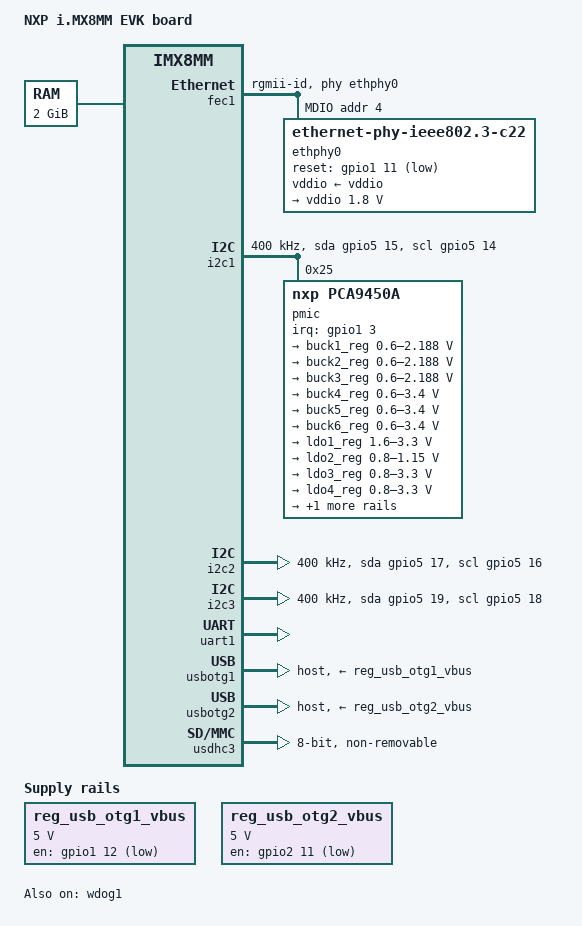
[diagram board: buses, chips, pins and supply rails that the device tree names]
// SPDX-License-Identifier: (GPL-2.0+ OR MIT)
/*
 * Copyright 2019-2020 NXP
 */

/dts-v1/;

#include <dt-bindings/usb/pd.h>
#include <dt-bindings/phy/phy-imx8-pcie.h>
#include <dt-bindings/usb/pd.h>
#include "imx8mm.dtsi"

/ {
	model = "NXP i.MX8MM EVK board";
	compatible = "fsl,imx8mm-evk", "fsl,imx8mm";

	chosen {
		stdout-path = &uart1;
		bootargs = "console=ttymxc0,115200 earlycon=ec_imx6q,0x30890000,115200";
	};
	memory@40000000 {
		device_type = "memory";
		reg = <0x0 0x40000000 0 0x80000000>;
	};

	reg_usb_otg1_vbus: regulator-usb-otg1-vbus {
		pinctrl-names = "default";
		pinctrl-0 = <&pinctrl_usbotg1_pwr>;
		compatible = "regulator-fixed";
		regulator-name = "usb_otg1_vbus";
		regulator-min-microvolt = <5000000>;
		regulator-max-microvolt = <5000000>;
		gpio = <&gpio1 12 GPIO_ACTIVE_HIGH>;
	};

	reg_usb_otg2_vbus: regulator-usb-otg2-vbus {
		pinctrl-names = "default";
		pinctrl-0 = <&pinctrl_usbotg2_pwr>;
		compatible = "regulator-fixed";
		regulator-name = "usb_otg2_vbus";
		regulator-min-microvolt = <5000000>;
		regulator-max-microvolt = <5000000>;
		gpio = <&gpio2 11 GPIO_ACTIVE_HIGH>;
	};

};

&A53_0 {
	cpu-supply = <&buck2_reg>;
};

&A53_1 {
	cpu-supply = <&buck2_reg>;
};

&A53_2 {
	cpu-supply = <&buck2_reg>;
};

&A53_3 {
	cpu-supply = <&buck2_reg>;
};


&fec1 {
	pinctrl-names = "default";
	pinctrl-0 = <&pinctrl_fec1>;
	phy-mode = "rgmii-id";
	phy-handle = <&ethphy0>;
	fsl,magic-packet;
	status = "okay";

	mdio {
		#address-cells = <1>;
		#size-cells = <0>;

		ethphy0: ethernet-phy@4 {
			compatible = "ethernet-phy-ieee802.3-c22";
			reg = <4>;
			reset-gpios = <&gpio1 11 GPIO_ACTIVE_LOW>;
			reset-assert-us = <60000>;
			reset-deassert-us = <70000>;
			qca,disable-smarteee;
			vddio-supply = <&vddio>;

			vddio: vddio-regulator {
				regulator-min-microvolt = <1800000>;
				regulator-max-microvolt = <1800000>;
			};
		};
	};
};

&i2c1 {
	clock-frequency = <400000>;
	pinctrl-names = "default", "gpio";
	pinctrl-0 = <&pinctrl_i2c1>;
	pinctrl-1 = <&pinctrl_i2c1_gpio>;
	scl-gpios = <&gpio5 14 GPIO_ACTIVE_HIGH>;
	sda-gpios = <&gpio5 15 GPIO_ACTIVE_HIGH>;
	status = "okay";

	pmic@25 {
		compatible = "nxp,pca9450a";
		reg = <0x25>;
		pinctrl-0 = <&pinctrl_pmic>;
		pinctrl-names = "default";
		interrupt-parent = <&gpio1>;
		interrupts = <3 IRQ_TYPE_LEVEL_LOW>;

		regulators {
			buck1_reg: BUCK1 {
				regulator-name = "BUCK1";
				regulator-min-microvolt = <600000>;
				regulator-max-microvolt = <2187500>;
				regulator-boot-on;
				regulator-always-on;
				regulator-ramp-delay = <3125>;
				nxp,dvs-run-voltage = <850000>;
				nxp,dvs-standby-voltage = <800000>;
			};

			buck2_reg: BUCK2 {
				regulator-name = "BUCK2";
				regulator-min-microvolt = <600000>;
				regulator-max-microvolt = <2187500>;
				regulator-boot-on;
				regulator-always-on;
				regulator-ramp-delay = <3125>;
			};

			buck3_reg: BUCK3 {
				regulator-name = "BUCK3";
				regulator-min-microvolt = <600000>;
				regulator-max-microvolt = <2187500>;
				regulator-boot-on;
				regulator-always-on;
			};

			buck4_reg: BUCK4 {
				regulator-name = "BUCK4";
				regulator-min-microvolt = <600000>;
				regulator-max-microvolt = <3400000>;
				regulator-boot-on;
				regulator-always-on;
			};

			buck5_reg: BUCK5 {
				regulator-name = "BUCK5";
				regulator-min-microvolt = <600000>;
				regulator-max-microvolt = <3400000>;
				regulator-boot-on;
				regulator-always-on;
			};

			buck6_reg: BUCK6 {
				regulator-name = "BUCK6";
				regulator-min-microvolt = <600000>;
				regulator-max-microvolt = <3400000>;
				regulator-boot-on;
				regulator-always-on;
			};

			ldo1_reg: LDO1 {
				regulator-name = "LDO1";
				regulator-min-microvolt = <1600000>;
				regulator-max-microvolt = <3300000>;
				regulator-boot-on;
				regulator-always-on;
			};

			ldo2_reg: LDO2 {
				regulator-name = "LDO2";
				regulator-min-microvolt = <800000>;
				regulator-max-microvolt = <1150000>;
				regulator-boot-on;
				regulator-always-on;
			};

			ldo3_reg: LDO3 {
				regulator-name = "LDO3";
				regulator-min-microvolt = <800000>;
				regulator-max-microvolt = <3300000>;
				regulator-boot-on;
				regulator-always-on;
			};

			ldo4_reg: LDO4 {
				regulator-name = "LDO4";
				regulator-min-microvolt = <800000>;
				regulator-max-microvolt = <3300000>;
				regulator-boot-on;
				regulator-always-on;
			};

			ldo5_reg: LDO5 {
				regulator-name = "LDO5";
				regulator-min-microvolt = <1800000>;
				regulator-max-microvolt = <3300000>;
			};

		};
	};
};

&i2c2 {
	clock-frequency = <400000>;
	pinctrl-names = "default", "gpio";
	pinctrl-0 = <&pinctrl_i2c2>;
	pinctrl-1 = <&pinctrl_i2c2_gpio>;
	scl-gpios = <&gpio5 16 GPIO_ACTIVE_HIGH>;
	sda-gpios = <&gpio5 17 GPIO_ACTIVE_HIGH>;
	status = "okay";
};

&i2c3 {
	clock-frequency = <400000>;
	pinctrl-names = "default", "gpio";
	pinctrl-0 = <&pinctrl_i2c3>;
	pinctrl-1 = <&pinctrl_i2c3_gpio>;
	scl-gpios = <&gpio5 18 GPIO_ACTIVE_HIGH>;
	sda-gpios = <&gpio5 19 GPIO_ACTIVE_HIGH>;
	status = "okay";
};

&uart1 { /* console */
	pinctrl-names = "default";
	pinctrl-0 = <&pinctrl_uart1>;
	status = "okay";
};

&usbotg1 {
	dr_mode = "host";
	vbus-supply = <&reg_usb_otg1_vbus>;
	disable-over-current;
	samsung,picophy-pre-emp-curr-control = <3>;
	samsung,picophy-dc-vol-level-adjust = <7>;
	status = "okay";
};

&usbotg2 {
	dr_mode = "host";
	vbus-supply = <&reg_usb_otg2_vbus>;
	disable-over-current;
	samsung,picophy-pre-emp-curr-control = <3>;
	samsung,picophy-dc-vol-level-adjust = <7>;
	status = "okay";
};

&wdog1 {
	pinctrl-names = "default";
	pinctrl-0 = <&pinctrl_wdog>;
	fsl,ext-reset-output;
	status = "okay";
};

&usdhc3 {
	assigned-clocks = <&clk IMX8MM_CLK_USDHC3_ROOT>;
	assigned-clock-rates = <400000000>;
	pinctrl-names = "default", "state_100mhz", "state_200mhz";
	pinctrl-0 = <&pinctrl_usdhc3>;
	pinctrl-1 = <&pinctrl_usdhc3_100mhz>;
	pinctrl-2 = <&pinctrl_usdhc3_200mhz>;
	bus-width = <8>;
	non-removable;
	status = "okay";
};

&iomuxc {

	pinctrl_fec1: fec1grp {
		fsl,pins = <
			MX8MM_IOMUXC_ENET_MDC_ENET1_MDC			0x3
			MX8MM_IOMUXC_ENET_MDIO_ENET1_MDIO		0x3
			MX8MM_IOMUXC_ENET_TD3_ENET1_RGMII_TD3		0x1f
			MX8MM_IOMUXC_ENET_TD2_ENET1_RGMII_TD2		0x1f
			MX8MM_IOMUXC_ENET_TD1_ENET1_RGMII_TD1		0x1f
			MX8MM_IOMUXC_ENET_TD0_ENET1_RGMII_TD0		0x1f
			MX8MM_IOMUXC_ENET_RD3_ENET1_RGMII_RD3		0x91
			MX8MM_IOMUXC_ENET_RD2_ENET1_RGMII_RD2		0x91
			MX8MM_IOMUXC_ENET_RD1_ENET1_RGMII_RD1		0x91
			MX8MM_IOMUXC_ENET_RD0_ENET1_RGMII_RD0		0x91
			MX8MM_IOMUXC_ENET_TXC_ENET1_RGMII_TXC		0x1f
			MX8MM_IOMUXC_ENET_RXC_ENET1_RGMII_RXC		0x91
			MX8MM_IOMUXC_ENET_RX_CTL_ENET1_RGMII_RX_CTL	0x91
			MX8MM_IOMUXC_ENET_TX_CTL_ENET1_RGMII_TX_CTL	0x1f
			MX8MM_IOMUXC_GPIO1_IO11_GPIO1_IO11		0x19
		>;
	};

	pinctrl_i2c1: i2c1grp {
		fsl,pins = <
			MX8MM_IOMUXC_I2C1_SCL_I2C1_SCL			0x400001c3
			MX8MM_IOMUXC_I2C1_SDA_I2C1_SDA			0x400001c3
		>;
	};

	pinctrl_i2c2: i2c2grp {
		fsl,pins = <
			MX8MM_IOMUXC_I2C2_SCL_I2C2_SCL			0x400001c3
			MX8MM_IOMUXC_I2C2_SDA_I2C2_SDA			0x400001c3
		>;
	};
	
	pinctrl_i2c3: i2c3grp {
		fsl,pins = <
			MX8MM_IOMUXC_I2C3_SCL_I2C3_SCL			0x400001c3
			MX8MM_IOMUXC_I2C3_SDA_I2C3_SDA			0x400001c3
		>;
	};

	pinctrl_i2c1_gpio: i2c1-gpiogrp {
		fsl,pins = <
			MX8MM_IOMUXC_I2C1_SCL_GPIO5_IO14        		0x1c3
			MX8MM_IOMUXC_I2C1_SDA_GPIO5_IO15        		0x1c3
		>;	
	};

	pinctrl_i2c2_gpio: i2c2-gpiogrp {
		fsl,pins = <
			MX8MM_IOMUXC_I2C2_SCL_GPIO5_IO16        		0x1c3
			MX8MM_IOMUXC_I2C2_SDA_GPIO5_IO17        		0x1c3
		>;
	};
	
	pinctrl_i2c3_gpio: i2c3-gpiogrp {
		fsl,pins = <
			MX8MM_IOMUXC_I2C3_SCL_GPIO5_IO18        		0x1c3
			MX8MM_IOMUXC_I2C3_SDA_GPIO5_IO19	        	0x1c3
		>;
	};


	pinctrl_pmic: pmicirqgrp {
		fsl,pins = <
			MX8MM_IOMUXC_GPIO1_IO03_GPIO1_IO3		0x141
		>;
	};

	pinctrl_uart1: uart1grp {
		fsl,pins = <
			MX8MM_IOMUXC_SAI2_RXC_UART1_DCE_RX	0x40
			MX8MM_IOMUXC_SAI2_RXFS_UART1_DCE_TX	0x40
		>;
	};

	pinctrl_wdog: wdoggrp {
		fsl,pins = <
			MX8MM_IOMUXC_GPIO1_IO02_WDOG1_WDOG_B	0x166
		>;
	};
	
	pinctrl_usdhc3: usdhc3grp {
		fsl,pins = <
			MX8MM_IOMUXC_NAND_WE_B_USDHC3_CLK               0x190
			MX8MM_IOMUXC_NAND_WP_B_USDHC3_CMD               0x1d0
			MX8MM_IOMUXC_NAND_DATA04_USDHC3_DATA0           0x1d0
			MX8MM_IOMUXC_NAND_DATA05_USDHC3_DATA1           0x1d0
			MX8MM_IOMUXC_NAND_DATA06_USDHC3_DATA2           0x1d0
			MX8MM_IOMUXC_NAND_DATA06_USDHC3_DATA2           0x1d0
			MX8MM_IOMUXC_NAND_DATA07_USDHC3_DATA3           0x1d0
			MX8MM_IOMUXC_NAND_RE_B_USDHC3_DATA4             0x1d0
			MX8MM_IOMUXC_NAND_CE2_B_USDHC3_DATA5            0x1d0
			MX8MM_IOMUXC_NAND_CE3_B_USDHC3_DATA6            0x1d0
			MX8MM_IOMUXC_NAND_CLE_USDHC3_DATA7              0x1d0
			MX8MM_IOMUXC_NAND_CE1_B_USDHC3_STROBE           0x190
		>;
	};

	pinctrl_usdhc3_100mhz: usdhc3-100mhzgrp {
		fsl,pins = <
			MX8MM_IOMUXC_NAND_WE_B_USDHC3_CLK               0x194
			MX8MM_IOMUXC_NAND_WP_B_USDHC3_CMD               0x1d4
			MX8MM_IOMUXC_NAND_DATA04_USDHC3_DATA0           0x1d4
			MX8MM_IOMUXC_NAND_DATA05_USDHC3_DATA1           0x1d4
			MX8MM_IOMUXC_NAND_DATA06_USDHC3_DATA2           0x1d4
			MX8MM_IOMUXC_NAND_DATA07_USDHC3_DATA3           0x1d4
			MX8MM_IOMUXC_NAND_RE_B_USDHC3_DATA4             0x1d4
			MX8MM_IOMUXC_NAND_CE2_B_USDHC3_DATA5            0x1d4
			MX8MM_IOMUXC_NAND_CE3_B_USDHC3_DATA6            0x1d4
			MX8MM_IOMUXC_NAND_CLE_USDHC3_DATA7              0x1d4
			MX8MM_IOMUXC_NAND_CE1_B_USDHC3_STROBE           0x194
		>;
	};

	pinctrl_usdhc3_200mhz: usdhc3-200mhzgrp {
		fsl,pins = <
			MX8MM_IOMUXC_NAND_WE_B_USDHC3_CLK               0x196
			MX8MM_IOMUXC_NAND_WP_B_USDHC3_CMD               0x1d6
			MX8MM_IOMUXC_NAND_DATA04_USDHC3_DATA0           0x1d6
			MX8MM_IOMUXC_NAND_DATA05_USDHC3_DATA1           0x1d6
			MX8MM_IOMUXC_NAND_DATA06_USDHC3_DATA2           0x1d6
			MX8MM_IOMUXC_NAND_DATA07_USDHC3_DATA3           0x1d6
			MX8MM_IOMUXC_NAND_RE_B_USDHC3_DATA4             0x1d6
			MX8MM_IOMUXC_NAND_CE2_B_USDHC3_DATA5            0x1d6
			MX8MM_IOMUXC_NAND_CE3_B_USDHC3_DATA6            0x1d6
			MX8MM_IOMUXC_NAND_CLE_USDHC3_DATA7              0x1d6
			MX8MM_IOMUXC_NAND_CE1_B_USDHC3_STROBE           0x196
		>;
	};

	pinctrl_usbotg1_pwr: usbotg1pwrgrp {
		fsl,pins = <
			MX8MM_IOMUXC_GPIO1_IO12_GPIO1_IO12		0x19
		>;
	};

	pinctrl_usbotg2_pwr: usbotg2pwrgrp {
		fsl,pins = <
			MX8MM_IOMUXC_SD1_STROBE_GPIO2_IO11		0x19
		>;
	};
};
